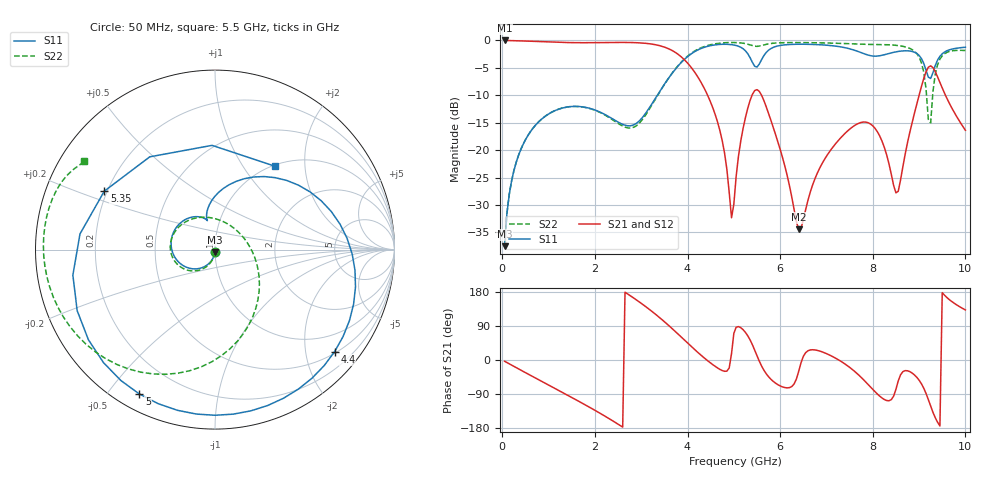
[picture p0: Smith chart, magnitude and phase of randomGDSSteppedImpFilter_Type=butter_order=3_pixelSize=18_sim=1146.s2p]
! freq	dB(S11)	phase(S11)	dB(S12)	phase(S12)
!  dB(S21)	phase(S21)	dB(S22)	phase(S22)
!S-par simulation data
#  GHz  S  DB  R 50
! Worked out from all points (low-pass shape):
!   200 points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, 50 MHz to 10 GHz, reference 50 ohm
!   highest |S21| = -0.01 dB at 50 MHz (marker M1); lowest = -34.5 dB at 6.4 GHz (marker M2)
!   |S21| within 3 dB of the highest: start of sweep to 3.865 GHz
!   lowest |S11| = -37.5 dB at 50 MHz (marker M3), VSWR 1.03, Z = 49.9 - j1.33 ohm
!   |S11| at or under -10 dB: start of sweep to 3.347 GHz
!   |S22| runs from -37.5 to -0.4 dB; largest |S21 - S12| = 0
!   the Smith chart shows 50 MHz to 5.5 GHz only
!   S11 on the Smith chart (normalised r, x): 50 MHz: 1.00, -0.03; 4.4 GHz: 0.53, -2.61; 5 GHz: 0.07, -0.60; 5.35 GHz: 0.19, +0.24; 5.5 GHz: 1.02, +1.41
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0.05  -37.51 -92.9  -0.01 -3.4  -0.01 -3.4  -37.49 -92.3
0.5  -18.11 -125.8  -0.11 -33.4  -0.11 -33.4  -18.11 -121.7
1.75  -12.13 148.3  -0.42 -115.6  -0.42 -115.6  -12.15 159.7
2.65  -15.46 105.1  -0.37 178.9  -0.37 178.9  -15.81 72.1
3.4  -9.30 82.4  -0.96 111.6  -0.96 111.6  -9.38 -43.7
3.85  -4.15 31.2  -2.89 62.2  -2.89 62.2  -4.09 -91.5
4.4  -1.15 -40.5  -9.40 1.5  -9.40 1.5  -1.00 -143.7
5  -0.84 -117.7  -29.86 70.2  -29.86 70.2  -0.38 172.1
5.05  -0.93 -125.7  -24.77 86.6  -24.77 86.6  -0.39 168.9
5.35  -3.13 152.2  -10.95 53.2  -10.95 53.2  -0.81 151.1
5.5  -4.85 54.4  -8.97 11.3  -8.97 11.3  -1.09 145.9
5.8  -1.49 -73.1  -14.56 -50.8  -14.56 -50.8  -0.56 132.9
6.4  -0.69 -144.0  -34.47 -30.1  -34.47 -30.1  -0.39 101.9
6.7  -0.73 -168.3  -26.37 27.1  -26.37 27.1  -0.42 86.8
7.65  -1.92 84.3  -15.30 -34.5  -15.30 -34.5  -0.66 37.4
8  -2.85 2.0  -15.57 -77.5  -15.57 -77.5  -0.74 18.1
8.35  -2.38 -82.7  -22.51 -107.5  -22.51 -107.5  -0.79 -3.5
8.55  -2.01 -117.1  -27.50 -55.1  -27.50 -55.1  -0.94 -17.7
8.95  -2.37 -168.3  -11.62 -45.6  -11.62 -45.6  -2.39 -56.4
9.25  -6.93 -171.4  -4.64 -121.8  -4.64 -121.8  -15.03 -16.8
9.5  -2.44 -175.5  -8.67 177.8  -8.67 177.8  -2.81 -33.6
10  -1.24 149.4  -16.38 132.1  -16.38 132.1  -1.84 -85.7
